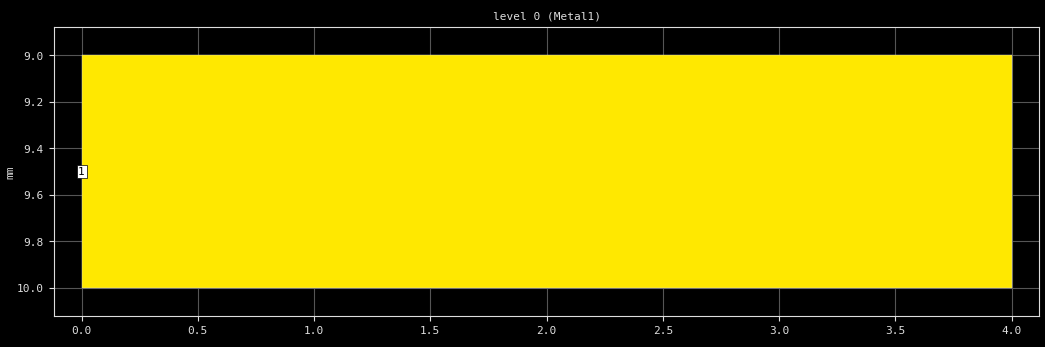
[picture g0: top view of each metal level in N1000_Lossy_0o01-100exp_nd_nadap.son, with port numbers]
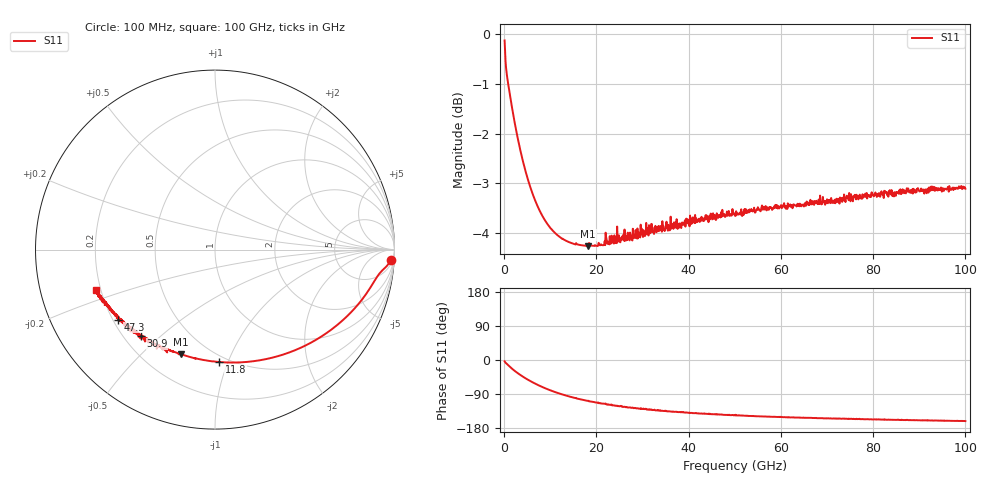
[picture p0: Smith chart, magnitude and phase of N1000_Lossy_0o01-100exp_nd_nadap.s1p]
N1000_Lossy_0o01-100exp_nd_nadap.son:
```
FTYP SONPROJ 19 ! Sonnet Project File
VER 18.56
HEADER
LIC sonnet10.72.52417
DAT 03/04/2023 09:39:06
BUILT_BY_CREATED xgeom 18.56 02/17/2023 13:10:04
BUILT_BY_SAVED sonnet 18.56
MDATE 03/04/2023 09:39:06
HDATE 03/04/2023 09:39:06
END HEADER
DIM
ANG DEG
CAP PF
CON /OH
FREQ GHZ
IND NH
LNG MM
RES OH
END DIM
CONTROL
VARSWP
OPTIONS 
SPEED 0
CACHE_ABS 2
Q_ACC N
END CONTROL
GEO
TMET "Lossless" 0 SUP 0 0 0 0
BMET "Lossless" 0 SUP 0 0 0 0
MET "Copper" 1 NOR 58000000 0.5 0.1 
MET "Resistive" 2 NOR 5 0.5 0.1  RSVY
BOX 1 30 15 1200 600 20 0
      5 1 1 0 0 0 0 "Air"
      1 10 1 0 0 0 0 "Substrate"
TECHLAY METAL Metal1 <UNSPECIFIED> -2 -65534 
0 0 1 N 34 1 1 100 100 0 0 0 Y
END
END
LORGN 0 6.35 U 
POR1 BOX
POLY 24 1
3
1 50 0 0 0 0 9.5 
NUM 1
0 5 1 N 24 1 1 100 100 0 0 0 Y
TLAYNAM Metal1 INH
0 9
4 9
4 10
0 10
0 9
END
END GEO
OPT
MAX 100
END OPT
VARSWP
ENABLED Y
FREQ Y AN LSWEEP 0.1 100.0 1000
END
END VARSWP
FILEOUT
TOUCH D Y $BASENAME.s1p IC 15 S MA R 50.00000
FOLDER .
END FILEOUT
```
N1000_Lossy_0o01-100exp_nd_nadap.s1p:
! Sonnet Data File
! From: em Version : 18.56
! From Project: N1000_Lossy_0o01-100exp_nd_nadap
! Data is De-embedded
! Data File Written: 03/04/2023 10:16:55
!< HDATE 03/04/2023 09:39:06
!< MDATE 03/04/2023 09:39:06
# GHZ S MA R 50.00000
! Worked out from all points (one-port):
!   1000 points, 100 MHz to 100 GHz, reference 50 ohm
!   lowest |S11| = -4.3 dB at 18.2 GHz (marker M1), VSWR 4.16, Z = 17.8 - j33.3 ohm
!   |S11| at or under -10 dB: nowhere
!   S11 on the Smith chart (normalised r, x): 100 MHz: 8, -31; 11.8 GHz: 0.45, -0.93; 30.9 GHz: 0.27, -0.43; 47.3 GHz: 0.22, -0.31; 100 GHz: 0.18, -0.16
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0.1  0.9851 -3.4
2.1  0.8235 -26.9
3.2  0.7758 -36.9
4.4  0.7351 -46.5
6  0.6947 -57.8
7.9  0.6619 -69.2
11.8  0.6269 -87.8
18.2  0.6124 -107.9
24.4  0.6167 -120.7
30.9  0.6337 -130.7
33.4  0.6399 -132.0
47.3  0.666 -144.2
66.7  0.6745 -152.7
100  0.6994 -161.2
